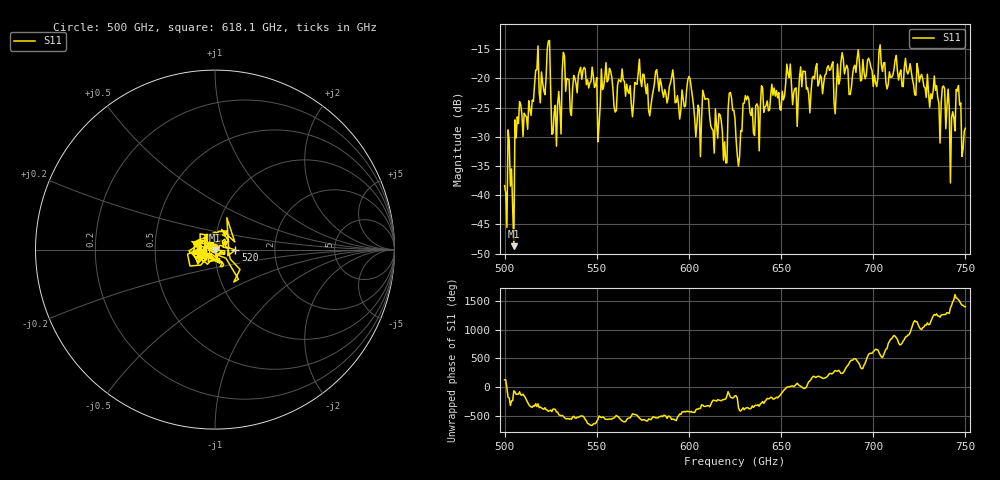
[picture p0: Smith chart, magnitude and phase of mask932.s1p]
!Created with skrf (http://scikit-rf.org).
# GHz S MA R 50.0
!freq magS11 angS11
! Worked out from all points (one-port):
!   401 points, 500 GHz to 750 GHz, reference 50 ohm
!   lowest |S11| = -48.7 dB at 505 GHz (marker M1), VSWR 1.01, Z = 50.2 - j0.331 ohm
!   |S11| at or under -10 dB: start of sweep to end of sweep
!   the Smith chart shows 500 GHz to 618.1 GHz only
!   S11 on the Smith chart (normalised r, x): 500 GHz: 0.99, +0.02; 520 GHz: 1.26, -0.01; 618.1 GHz: 0.95, +0.04
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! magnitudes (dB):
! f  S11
! 500 GHz  -38.4
! 505 GHz  -48.7
! 508.1 GHz  -24.0
! 520 GHz  -18.9
! 523.8 GHz  -13.6
! 526.9 GHz  -25.9
! 531.2 GHz  -18.7
! 542.5 GHz  -18.6
! 550.6 GHz  -30.9
! 562.5 GHz  -20.4
! 590.6 GHz  -19.8
! 593.8 GHz  -23.0
! 600 GHz  -19.7
! 605 GHz  -24.6
! 608.8 GHz  -23.6
! 618.1 GHz  -29.0
! 620 GHz  -34.5
! 622.5 GHz  -22.4
! 625 GHz  -26.9
! 626.9 GHz  -35.0
! 630.6 GHz  -22.9
! 636.9 GHz  -24.4
! 656.2 GHz  -24.5
! 687.5 GHz  -22.8
! 718.8 GHz  -19.2
! 743.1 GHz  -25.7
! 746.2 GHz  -21.2
! 750 GHz  -28.5
